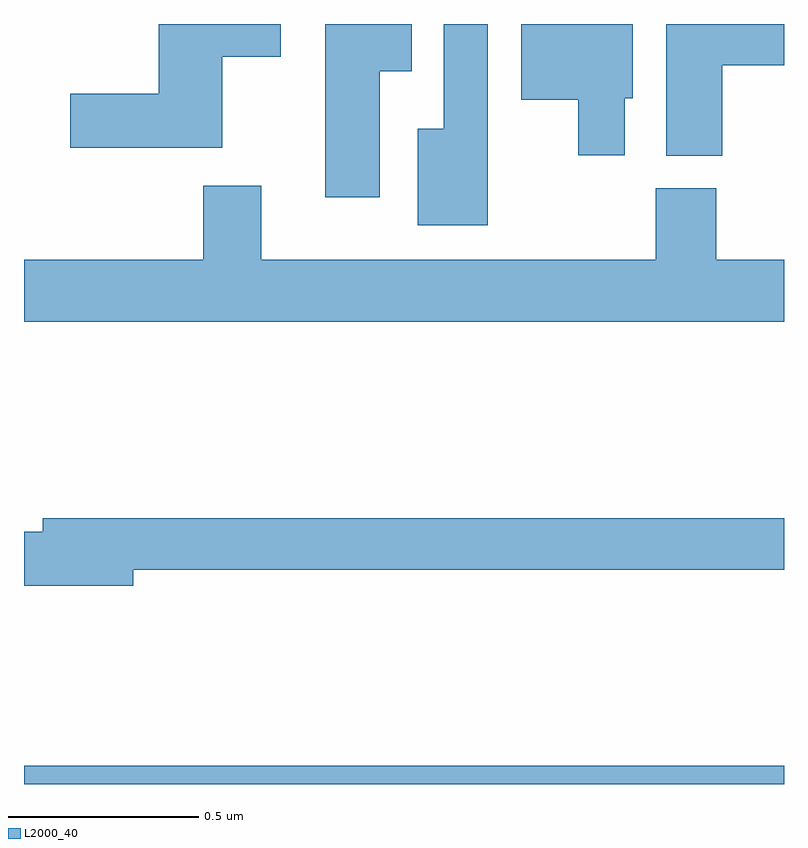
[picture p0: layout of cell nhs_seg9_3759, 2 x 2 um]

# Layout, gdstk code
import gdstk
lib = gdstk.Library(unit=1e-6, precision=1e-09)
def R(c, l, rs):  # rectangles x0, y0, x1, y1
    for r in rs: c.add(gdstk.rectangle(r[:2], r[2:], *l))
def P(c, l, *ps):  # polygons
    for p in ps: c.add(gdstk.Polygon(p, *l))
L2000_40 = (2000, 40)

nhs_seg9_3759 = lib.new_cell('nhs_seg9_3759')
R(nhs_seg9_3759, L2000_40, [(157,1232.5,159,1232.548)])
P(nhs_seg9_3759, L2000_40, [(158.221,1234.5),(158.109,1234.5),(158.109,1234.499),(158.105,1234.499),(158.105,1234.225),(158.036,1234.225),(158.036,1233.971),(158.221,1233.971)],
  [(157.936,1234.376),(158.02,1234.376),(158.02,1234.5),(157.793,1234.5),(157.793,1234.044),(157.936,1234.044)],
  [(158.581,1234.305),(158.602,1234.305),(158.602,1234.5),(158.309,1234.5),(158.309,1234.301),(158.459,1234.301),(158.459,1234.155),(158.581,1234.155)],
  [(158.837,1234.391),(159,1234.391),(159,1234.5),(158.69,1234.5),(158.69,1234.153),(158.837,1234.153)],
  [(157.522,1234.414),(157.675,1234.414),(157.675,1234.5),(157.355,1234.5),(157.355,1234.316),(157.122,1234.316),(157.122,1234.174),(157.522,1234.174)],
  [(159,1233.88),(158.822,1233.88),(158.822,1234.068),(158.662,1234.068),(158.662,1233.88),(157.624,1233.88),(157.624,1234.075),(157.472,1234.075),(157.472,1233.88),(157,1233.88),(157,1233.716),(159,1233.716)],
  [(157.288,1233.064),(159,1233.064),(159,1233.2),(157.049,1233.2),(157.049,1233.164),(157,1233.164),(157,1233.022),(157.288,1233.022)])

lib.write_gds('nhs_seg9_3759.gds')
